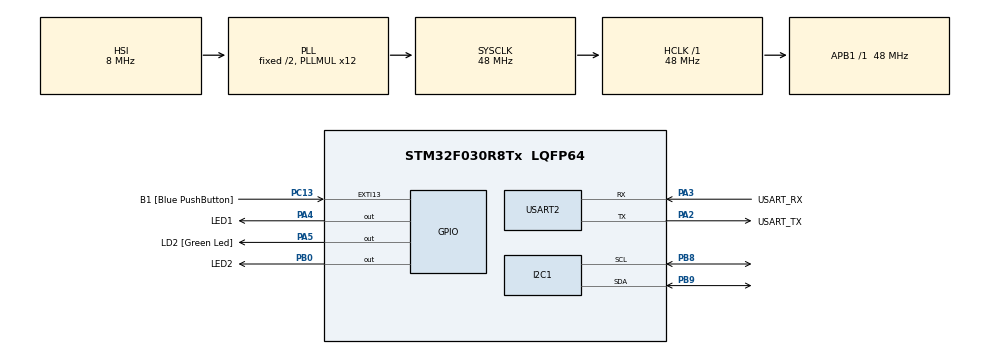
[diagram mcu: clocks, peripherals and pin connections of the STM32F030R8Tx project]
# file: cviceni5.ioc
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Dma.Request0=USART2_RX
Dma.USART2_RX.0.Direction=DMA_PERIPH_TO_MEMORY
Dma.USART2_RX.0.Instance=DMA1_Channel5
Dma.USART2_RX.0.MemDataAlignment=DMA_MDATAALIGN_BYTE
Dma.USART2_RX.0.MemInc=DMA_MINC_ENABLE
Dma.USART2_RX.0.Mode=DMA_CIRCULAR
Dma.USART2_RX.0.PeriphDataAlignment=DMA_PDATAALIGN_BYTE
Dma.USART2_RX.0.PeriphInc=DMA_PINC_DISABLE
Dma.USART2_RX.0.Priority=DMA_PRIORITY_LOW
Mcu.Family=STM32F0
Mcu.Name=STM32F030R8Tx
Mcu.Package=LQFP64
NVIC.DMA1_Channel4_5_IRQn=true\:0\:0\:false\:false\:true\:false\:true\:true
PA13.GPIO_Label=TMS
PA13.Mode=Serial_Wire
PA13.Signal=SYS_SWDIO
PA14.GPIO_Label=TCK
PA14.Mode=Serial_Wire
PA14.Signal=SYS_SWCLK
PA2.GPIO_Label=USART_TX
PA2.GPIO_Mode=GPIO_MODE_AF_PP
PA2.GPIO_PuPd=GPIO_NOPULL
PA2.GPIO_Speed=GPIO_SPEED_FREQ_LOW
PA2.Mode=Asynchronous
PA2.Signal=USART2_TX
PA3.GPIO_Label=USART_RX
PA3.GPIO_Mode=GPIO_MODE_AF_PP
PA3.GPIO_PuPd=GPIO_NOPULL
PA3.GPIO_Speed=GPIO_SPEED_FREQ_LOW
PA3.Mode=Asynchronous
PA3.Signal=USART2_RX
PA4.GPIO_Label=LED1
PA4.Signal=GPIO_Output
PA5.GPIO_Label=LD2 [Green Led]
PA5.GPIO_Mode=GPIO_MODE_OUTPUT_PP
PA5.GPIO_PuPd=GPIO_NOPULL
PA5.GPIO_Speed=GPIO_SPEED_FREQ_LOW
PA5.Signal=GPIO_Output
PB0.GPIO_Label=LED2
PB0.Signal=GPIO_Output
PB8.Mode=I2C
PB8.Signal=I2C1_SCL
PB9.Mode=I2C
PB9.Signal=I2C1_SDA
PC13.GPIO_Label=B1 [Blue PushButton]
PC13.GPIO_ModeDefaultEXTI=GPIO_MODE_IT_FALLING
PC13.Signal=GPXTI13
PC14-OSC32_IN.Mode=LSE-External-Oscillator
PC14-OSC32_IN.Signal=RCC_OSC32_IN
PC15-OSC32_OUT.Mode=LSE-External-Oscillator
PC15-OSC32_OUT.Signal=RCC_OSC32_OUT
PF0-OSC_IN.Mode=HSE-External-Clock-Source
PF0-OSC_IN.Signal=RCC_OSC_IN
PF1-OSC_OUT.Signal=RCC_OSC_OUT
ProjectManager.HeapSize=0x200
ProjectManager.StackSize=0x400
ProjectManager.TargetToolchain=STM32CubeIDE
RCC.AHBFreq_Value=48000000
RCC.APB1Freq_Value=48000000
RCC.APB1TimFreq_Value=48000000
RCC.HCLKFreq_Value=48000000
RCC.PLLMUL=RCC_PLL_MUL12
RCC.SYSCLKFreq_VALUE=48000000
RCC.SYSCLKSource=RCC_SYSCLKSOURCE_PLLCLK
USART2.VirtualMode-Asynchronous=VM_ASYNC
board=NUCLEO-F030R8

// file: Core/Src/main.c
/* USER CODE BEGIN Header */
/**
  ******************************************************************************
  * @file           : main.c
  * @brief          : Main program body
  ******************************************************************************
  * @attention
  *
  * Copyright (c) 2023 STMicroelectronics.
  * All rights reserved.
  *
  * This software is licensed under terms that can be found in the LICENSE file
  * in the root directory of this software component.
  * If no LICENSE file comes with this software, it is provided AS-IS.
  *
  ******************************************************************************
  */
/* USER CODE END Header */
#include "main.h"

/* USER CODE BEGIN Includes */
#include <stdio.h>
#include <stdlib.h>
#include <string.h>
/* USER CODE END Includes */

/* USER CODE BEGIN PD */
#define RX_BUFFER_LEN 64
#define EEPROM_ADDR 0b10100000
#define CMD_BUFFER_LEN 256
static uint8_t uart_rx_buf[RX_BUFFER_LEN];
static volatile uint16_t uart_rx_read_ptr = 0;
#define uart_rx_write_ptr (RX_BUFFER_LEN - hdma_usart2_rx.Instance->CNDTR)
/* USER CODE END PD */

I2C_HandleTypeDef hi2c1;

UART_HandleTypeDef huart2;
DMA_HandleTypeDef hdma_usart2_rx;

void SystemClock_Config(void);
static void MX_GPIO_Init(void);
static void MX_DMA_Init(void);
static void MX_USART2_UART_Init(void);
static void MX_I2C1_Init(void);
/* USER CODE BEGIN PFP */
static void uart_byte_available(uint8_t c) {
	static uint16_t cnt;
	static char data[CMD_BUFFER_LEN];
	if (cnt < CMD_BUFFER_LEN && c >= 32 && c <= 126)
		data[cnt++] = c;
	if ((c == '\n' || c == '\r') && cnt > 0) {
		data[cnt] = '\0';
		/*uart_process_command(data);*/
		char *token;
		token = strtok(data, " ");
		if (strcmp(token, "HELLO") == 0) {
			printf("Komunikace OK\n");
		} else if (strcmp(token, "LED1") == 0) {
			token = strtok(NULL, " ");
			if (strcmp(token, "ON") == 0) {
				HAL_GPIO_WritePin(LED1_GPIO_Port, LED1_Pin, 1);
			} else if (strcmp(token, "OFF") == 0) {
				HAL_GPIO_WritePin(LED1_GPIO_Port, LED1_Pin, 0);
			}
			printf("OK\n");
		} else if (strcmp(token, "LED2") == 0) {
			token = strtok(NULL, " ");
			if (strcmp(token, "ON") == 0) {
				HAL_GPIO_WritePin(LED2_GPIO_Port, LED2_Pin, 1);
			} else if (strcmp(token, "OFF") == 0) {
				HAL_GPIO_WritePin(LED2_GPIO_Port, LED2_Pin, 0);
			}
			printf("OK\n");
		} else if (strcmp(token, "STATUS") == 0) {
			token = strtok(NULL, " ");
			if (strcmp(token, "LED1") == 0) {
				if (HAL_GPIO_ReadPin(LED1_GPIO_Port, LED1_Pin) == 0) {
					printf("LED1 is OFF\n");
				} else if (HAL_GPIO_ReadPin(LED1_GPIO_Port, LED1_Pin) == 1) {
					printf("LED1 is ON\n");
				}
			} else if (strcmp(token, "LED2") == 0) {
				if (HAL_GPIO_ReadPin(LED2_GPIO_Port, LED2_Pin) == 0) {
					printf("LED2 is OFF\n");
				} else if (HAL_GPIO_ReadPin(LED2_GPIO_Port, LED2_Pin) == 1) {
					printf("LED2 is ON\n");
				}
			}
			printf("OK\n");
		} else if (strcmp(token, "read") == 0) {
			token = strtok(NULL, " ");
			uint16_t addr = atoi(token);
			uint8_t value;
			HAL_I2C_Mem_Read(&hi2c1, EEPROM_ADDR, addr, I2C_MEMADD_SIZE_16BIT,
					&value, 1, 1000);
			while (HAL_I2C_IsDeviceReady(&hi2c1, EEPROM_ADDR, 300, 1000)
					== HAL_TIMEOUT) {
			}
			printf("Adresa 0x%X = 0x%X\n", addr, value);
		} else if (strcmp(token, "write") == 0) {
			token = strtok(NULL, " ");
			uint16_t addr = atoi(token);
			token = strtok(NULL, " ");
			uint8_t value = atoi(token);
			HAL_I2C_Mem_Write(&hi2c1, EEPROM_ADDR, addr, I2C_MEMADD_SIZE_16BIT,
					&value, 1, 1000);
			while (HAL_I2C_IsDeviceReady(&hi2c1, EEPROM_ADDR, 300, 1000)
					== HAL_TIMEOUT) {
			}
			printf("OK\n");
		} else if (strcmp(token, "dump") == 0) {
			for (uint8_t i = 0; i < 16; i++) {
				uint8_t value;
				HAL_I2C_Mem_Read(&hi2c1, EEPROM_ADDR, i, I2C_MEMADD_SIZE_16BIT,
						&value, 1, 1000);
				while (HAL_I2C_IsDeviceReady(&hi2c1, EEPROM_ADDR, 300, 1000)
						== HAL_TIMEOUT) {
				}
				printf("0x%X ", value);
			}
			printf("\n");

		}

		cnt = 0;
	}
}

void uart_process_command(char* cmd) {
	printf("prijato: '%s'\n", cmd);
}

int _write(int file, char const *buf, int n)
{
 /* stdout redirection to UART2 */
	HAL_UART_Transmit(&huart2, (uint8_t*)(buf), n, HAL_MAX_DELAY);
	return n;
}

/* USER CODE END PFP */

int main(void)
{

  /* MCU Configuration--------------------------------------------------------*/

  /* Reset of all peripherals, Initializes the Flash interface and the Systick. */
  HAL_Init();

  /* Configure the system clock */
  SystemClock_Config();

  /* Initialize all configured peripherals */
  MX_GPIO_Init();
  MX_DMA_Init();
  MX_USART2_UART_Init();
  MX_I2C1_Init();
  /* USER CODE BEGIN 2 */
  HAL_UART_Receive_DMA(&huart2, uart_rx_buf, RX_BUFFER_LEN);
  /* USER CODE END 2 */

  /* Infinite loop */
  while (1)
  {

    /* USER CODE BEGIN 3 */
	while (uart_rx_read_ptr != uart_rx_write_ptr) {
	   uint8_t b = uart_rx_buf[uart_rx_read_ptr];
	   if (++uart_rx_read_ptr >= RX_BUFFER_LEN) uart_rx_read_ptr = 0; // increase read pointer
	   uart_byte_available(b);// process every received byte with the RX state machine
	}
  }
  /* USER CODE END 3 */
}

void SystemClock_Config(void)
{
  RCC_OscInitTypeDef RCC_OscInitStruct = {0};
  RCC_ClkInitTypeDef RCC_ClkInitStruct = {0};
  RCC_PeriphCLKInitTypeDef PeriphClkInit = {0};

  /** Initializes the RCC Oscillators according to the specified parameters
  * in the RCC_OscInitTypeDef structure.
  */
  RCC_OscInitStruct.OscillatorType = RCC_OSCILLATORTYPE_HSI;
  RCC_OscInitStruct.HSIState = RCC_HSI_ON;
  RCC_OscInitStruct.HSICalibrationValue = RCC_HSICALIBRATION_DEFAULT;
  RCC_OscInitStruct.PLL.PLLState = RCC_PLL_ON;
  RCC_OscInitStruct.PLL.PLLSource = RCC_PLLSOURCE_HSI;
  RCC_OscInitStruct.PLL.PLLMUL = RCC_PLL_MUL12;
  RCC_OscInitStruct.PLL.PREDIV = RCC_PREDIV_DIV1;
  if (HAL_RCC_OscConfig(&RCC_OscInitStruct) != HAL_OK)
  {
    Error_Handler();
  }

  /** Initializes the CPU, AHB and APB buses clocks
  */
  RCC_ClkInitStruct.ClockType = RCC_CLOCKTYPE_HCLK|RCC_CLOCKTYPE_SYSCLK
                              |RCC_CLOCKTYPE_PCLK1;
  RCC_ClkInitStruct.SYSCLKSource = RCC_SYSCLKSOURCE_PLLCLK;
  RCC_ClkInitStruct.AHBCLKDivider = RCC_SYSCLK_DIV1;
  RCC_ClkInitStruct.APB1CLKDivider = RCC_HCLK_DIV1;

  if (HAL_RCC_ClockConfig(&RCC_ClkInitStruct, FLASH_LATENCY_1) != HAL_OK)
  {
    Error_Handler();
  }
  PeriphClkInit.PeriphClockSelection = RCC_PERIPHCLK_I2C1;
  PeriphClkInit.I2c1ClockSelection = RCC_I2C1CLKSOURCE_HSI;
  if (HAL_RCCEx_PeriphCLKConfig(&PeriphClkInit) != HAL_OK)
  {
    Error_Handler();
  }
}

static void MX_I2C1_Init(void)
{

  hi2c1.Instance = I2C1;
  hi2c1.Init.Timing = 0x2000090E;
  hi2c1.Init.OwnAddress1 = 0;
  hi2c1.Init.AddressingMode = I2C_ADDRESSINGMODE_7BIT;
  hi2c1.Init.DualAddressMode = I2C_DUALADDRESS_DISABLE;
  hi2c1.Init.OwnAddress2 = 0;
  hi2c1.Init.OwnAddress2Masks = I2C_OA2_NOMASK;
  hi2c1.Init.GeneralCallMode = I2C_GENERALCALL_DISABLE;
  hi2c1.Init.NoStretchMode = I2C_NOSTRETCH_DISABLE;
  if (HAL_I2C_Init(&hi2c1) != HAL_OK)
  {
    Error_Handler();
  }

  /** Configure Analogue filter
  */
  if (HAL_I2CEx_ConfigAnalogFilter(&hi2c1, I2C_ANALOGFILTER_ENABLE) != HAL_OK)
  {
    Error_Handler();
  }

  /** Configure Digital filter
  */
  if (HAL_I2CEx_ConfigDigitalFilter(&hi2c1, 0) != HAL_OK)
  {
    Error_Handler();
  }

}

static void MX_USART2_UART_Init(void)
{

  huart2.Instance = USART2;
  huart2.Init.BaudRate = 38400;
  huart2.Init.WordLength = UART_WORDLENGTH_8B;
  huart2.Init.StopBits = UART_STOPBITS_1;
  huart2.Init.Parity = UART_PARITY_NONE;
  huart2.Init.Mode = UART_MODE_TX_RX;
  huart2.Init.HwFlowCtl = UART_HWCONTROL_NONE;
  huart2.Init.OverSampling = UART_OVERSAMPLING_16;
  huart2.Init.OneBitSampling = UART_ONE_BIT_SAMPLE_DISABLE;
  huart2.AdvancedInit.AdvFeatureInit = UART_ADVFEATURE_NO_INIT;
  if (HAL_UART_Init(&huart2) != HAL_OK)
  {
    Error_Handler();
  }

}

static void MX_DMA_Init(void)
{

  /* DMA controller clock enable */
  __HAL_RCC_DMA1_CLK_ENABLE();

  /* DMA interrupt init */
  /* DMA1_Channel4_5_IRQn interrupt configuration */
  HAL_NVIC_SetPriority(DMA1_Channel4_5_IRQn, 0, 0);
  HAL_NVIC_EnableIRQ(DMA1_Channel4_5_IRQn);

}

static void MX_GPIO_Init(void)
{
  GPIO_InitTypeDef GPIO_InitStruct = {0};

  /* GPIO Ports Clock Enable */
  __HAL_RCC_GPIOC_CLK_ENABLE();
  __HAL_RCC_GPIOF_CLK_ENABLE();
  __HAL_RCC_GPIOA_CLK_ENABLE();
  __HAL_RCC_GPIOB_CLK_ENABLE();

  /*Configure GPIO pin Output Level */
  HAL_GPIO_WritePin(GPIOA, LED1_Pin|LD2_Pin, GPIO_PIN_RESET);

  /*Configure GPIO pin Output Level */
  HAL_GPIO_WritePin(LED2_GPIO_Port, LED2_Pin, GPIO_PIN_RESET);

  /*Configure GPIO pin : B1_Pin */
  GPIO_InitStruct.Pin = B1_Pin;
  GPIO_InitStruct.Mode = GPIO_MODE_IT_FALLING;
  GPIO_InitStruct.Pull = GPIO_NOPULL;
  HAL_GPIO_Init(B1_GPIO_Port, &GPIO_InitStruct);

  /*Configure GPIO pins : LED1_Pin LD2_Pin */
  GPIO_InitStruct.Pin = LED1_Pin|LD2_Pin;
  GPIO_InitStruct.Mode = GPIO_MODE_OUTPUT_PP;
  GPIO_InitStruct.Pull = GPIO_NOPULL;
  GPIO_InitStruct.Speed = GPIO_SPEED_FREQ_LOW;
  HAL_GPIO_Init(GPIOA, &GPIO_InitStruct);

  /*Configure GPIO pin : LED2_Pin */
  GPIO_InitStruct.Pin = LED2_Pin;
  GPIO_InitStruct.Mode = GPIO_MODE_OUTPUT_PP;
  GPIO_InitStruct.Pull = GPIO_NOPULL;
  GPIO_InitStruct.Speed = GPIO_SPEED_FREQ_LOW;
  HAL_GPIO_Init(LED2_GPIO_Port, &GPIO_InitStruct);

}

void Error_Handler(void)
{
  __disable_irq();
  while (1)
  {
  }
}
